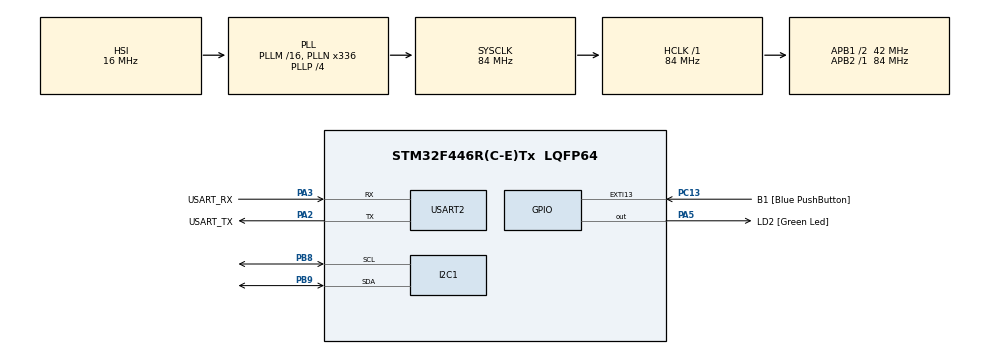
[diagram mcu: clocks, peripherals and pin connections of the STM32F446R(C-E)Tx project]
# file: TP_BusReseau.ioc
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Mcu.Family=STM32F4
Mcu.Name=STM32F446R(C-E)Tx
Mcu.Package=LQFP64
NVIC.I2C1_ER_IRQn=true\:0\:0\:false\:false\:true\:true\:true\:true
NVIC.I2C1_EV_IRQn=true\:0\:0\:false\:false\:true\:true\:true\:true
NVIC.PriorityGroup=NVIC_PRIORITYGROUP_0
NVIC.USART2_IRQn=true\:0\:0\:false\:false\:true\:true\:true\:true
PA13.GPIO_Label=TMS
PA13.Mode=Serial_Wire
PA13.Signal=SYS_JTMS-SWDIO
PA14.GPIO_Label=TCK
PA14.Mode=Serial_Wire
PA14.Signal=SYS_JTCK-SWCLK
PA2.GPIO_Label=USART_TX
PA2.Mode=Asynchronous
PA2.Signal=USART2_TX
PA3.GPIO_Label=USART_RX
PA3.Mode=Asynchronous
PA3.Signal=USART2_RX
PA5.GPIO_Label=LD2 [Green Led]
PA5.Signal=GPIO_Output
PB3.GPIO_Label=SWO
PB3.Signal=SYS_JTDO-SWO
PB8.Mode=I2C
PB8.Signal=I2C1_SCL
PB9.Mode=I2C
PB9.Signal=I2C1_SDA
PC13.GPIO_Label=B1 [Blue PushButton]
PC13.GPIO_ModeDefaultEXTI=GPIO_MODE_IT_FALLING
PC13.Signal=GPXTI13
PC14-OSC32_IN.Mode=LSE-External-Oscillator
PC14-OSC32_IN.Signal=RCC_OSC32_IN
PC15-OSC32_OUT.Mode=LSE-External-Oscillator
PC15-OSC32_OUT.Signal=RCC_OSC32_OUT
PH0-OSC_IN.Mode=HSE-External-Oscillator
PH0-OSC_IN.Signal=RCC_OSC_IN
PH1-OSC_OUT.Mode=HSE-External-Oscillator
PH1-OSC_OUT.Signal=RCC_OSC_OUT
ProjectManager.HeapSize=0x200
ProjectManager.StackSize=0x400
ProjectManager.TargetToolchain=STM32CubeIDE
RCC.48MHZClocksFreq_Value=84000000
RCC.AHBFreq_Value=84000000
RCC.APB1CLKDivider=RCC_HCLK_DIV2
RCC.APB1Freq_Value=42000000
RCC.APB1TimFreq_Value=84000000
RCC.APB2Freq_Value=84000000
RCC.APB2TimFreq_Value=84000000
RCC.CortexFreq_Value=84000000
RCC.FLatency-AdvancedSettings=FLASH_LATENCY_2
RCC.HCLKFreq_Value=84000000
RCC.HSE_VALUE=8000000
RCC.HSI_VALUE=16000000
RCC.PLLN=336
RCC.PLLP=RCC_PLLP_DIV4
RCC.SYSCLKFreq_VALUE=84000000
RCC.SYSCLKSource=RCC_SYSCLKSOURCE_PLLCLK
RCC.USBFreq_Value=168000000
RCC.VCOOutputFreq_Value=336000000
USART2.VirtualMode=VM_ASYNC
board=NUCLEO-F446RE

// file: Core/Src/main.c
/* USER CODE BEGIN Header */
/**
 ******************************************************************************
 * @file           : main.c
 * @brief          : Main program body
 ******************************************************************************
 * @attention
 *
 * Copyright (c) 2025 STMicroelectronics.
 * All rights reserved.
 *
 * This software is licensed under terms that can be found in the LICENSE file
 * in the root directory of this software component.
 * If no LICENSE file comes with this software, it is provided AS-IS.
 *
 ******************************************************************************
 */
/* USER CODE END Header */
#include "main.h"
#include "i2c.h"
#include "usart.h"
#include "gpio.h"

/* USER CODE BEGIN PD */
#define BMP280_I2C_ADDR (0x77 << 1) 	// SDO = VDDIO & I2C sur 7 bits et non 8
#define REG_ID 0xD0
#define REG_ID_VAL 0x58
#define NORMAL_MODE 0b11
#define REG_RESET 0xE0
#define REG_CALIB 0x88
#define CALIB_LENGTH 26
#define REG_PRESS_MSB 0xF7
#define REG_TEMP_MSB  0xFA
#define REG_CTRL_MEAS 0xF4
/* USER CODE END PD */

/* USER CODE BEGIN PV */
extern I2C_HandleTypeDef hi2c1;
extern UART_HandleTypeDef huart2;
/* USER CODE END PV */

void SystemClock_Config(void);

/* USER CODE BEGIN 0 */
int __io_putchar(int chr){
	HAL_UART_Transmit(&huart2, (uint8_t*) &chr, 1, HAL_MAX_DELAY);
	return chr;
}
/* USER CODE END 0 */

int main(void)
{

	/* MCU Configuration--------------------------------------------------------*/

	/* Reset of all peripherals, Initializes the Flash interface and the Systick. */
	HAL_Init();

	/* Configure the system clock */
	SystemClock_Config();

	/* Initialize all configured peripherals */
	MX_GPIO_Init();
	MX_USART2_UART_Init();
	MX_I2C1_Init();
	/* USER CODE BEGIN 2 */
	printf("\n=== Initialisation du BMP280... ===\r\n");

	/* Variables */
	uint8_t id_reg = REG_ID;
	uint8_t id;
	uint8_t buf[2];
	uint8_t calib[CALIB_LENGTH];
	uint8_t data[6];

	/* Étalonnage */
	uint16_t dig_T1;
	int16_t dig_T2, dig_T3;
	uint16_t dig_P1;
	int16_t dig_P2, dig_P3, dig_P4, dig_P5, dig_P6, dig_P7, dig_P8, dig_P9;
	int32_t t_fine;

	/* 1 - Présence du capteur */
	HAL_I2C_Master_Transmit(&hi2c1, BMP280_I2C_ADDR, &id_reg, 1, HAL_MAX_DELAY);
	HAL_I2C_Master_Receive(&hi2c1, BMP280_I2C_ADDR, &id, 1, HAL_MAX_DELAY);

	if (id == 0x58)
		printf("BMP280 détecté (ID = 0x%02X)\r\n", id);
	else
		printf("Erreur : BMP280 non détecté (ID lu = 0x%02X)\r\n", id);

	/* 2 - Configuration du capteur */
	buf[0] = REG_CTRL_MEAS;
	buf[1] = 0x57;
	HAL_I2C_Master_Transmit(&hi2c1, BMP280_I2C_ADDR, buf, 2, HAL_MAX_DELAY);
	HAL_Delay(100);

	/* 3 - Coefficients d'étalonage */
	uint8_t reg_calib = REG_CALIB;
	HAL_I2C_Master_Transmit(&hi2c1, BMP280_I2C_ADDR, &reg_calib, 1, HAL_MAX_DELAY);
	HAL_I2C_Master_Receive(&hi2c1, BMP280_I2C_ADDR, calib, CALIB_LENGTH, HAL_MAX_DELAY);

	/* Cf Datasheet */
	dig_T1 = (uint16_t)(calib[1] << 8 | calib[0]);
	dig_T2 = (int16_t)(calib[3] << 8 | calib[2]);
	dig_T3 = (int16_t)(calib[5] << 8 | calib[4]);
	dig_P1 = (uint16_t)(calib[7] << 8 | calib[6]);
	dig_P2 = (int16_t)(calib[9] << 8 | calib[8]);
	dig_P3 = (int16_t)(calib[11] << 8 | calib[10]);
	dig_P4 = (int16_t)(calib[13] << 8 | calib[12]);
	dig_P5 = (int16_t)(calib[15] << 8 | calib[14]);
	dig_P6 = (int16_t)(calib[17] << 8 | calib[16]);
	dig_P7 = (int16_t)(calib[19] << 8 | calib[18]);
	dig_P8 = (int16_t)(calib[21] << 8 | calib[20]);
	dig_P9 = (int16_t)(calib[23] << 8 | calib[22]);

	printf("\n== Coefficients d’étalonnage lus ==\r\n");

	printf("dig_T1 = %u\r\n", dig_T1);
	printf("dig_T2 = %d\r\n", dig_T2);
	printf("dig_T3 = %d\r\n", dig_T3);

	printf("dig_P1 = %u\r\n", dig_P1);
	printf("dig_P2 = %d\r\n", dig_P2);
	printf("dig_P3 = %d\r\n", dig_P3);
	printf("dig_P4 = %d\r\n", dig_P4);
	printf("dig_P5 = %d\r\n", dig_P5);
	printf("dig_P6 = %d\r\n", dig_P6);
	printf("dig_P7 = %d\r\n", dig_P7);
	printf("dig_P8 = %d\r\n", dig_P8);
	printf("dig_P9 = %d\r\n", dig_P9);

	/* USER CODE END 2 */

	/* Infinite loop */
	while (1)
	{

		/* USER CODE BEGIN 3 */

		/* 4 -  Lecture des datas */
		printf("\n=== Lecture des données === \r\n");
		uint8_t reg_data = REG_PRESS_MSB;

		HAL_I2C_Master_Transmit(&hi2c1, BMP280_I2C_ADDR, &reg_data, 1, HAL_MAX_DELAY);
		HAL_I2C_Master_Receive(&hi2c1, BMP280_I2C_ADDR, data, 6, HAL_MAX_DELAY);

		uint32_t adc_P = ((uint32_t)data[0] << 12) | ((uint32_t)data[1] << 4) | (data[2] >> 4);
		uint32_t adc_T = ((uint32_t)data[3] << 12) | ((uint32_t)data[4] << 4) | (data[5] >> 4);

		/* 5 - Température compensée */
		int32_t var1, var2, T;

		var1 = ((((adc_T >> 3) - ((int32_t)dig_T1 << 1))) * ((int32_t)dig_T2)) >> 11;
		var2 = (((((adc_T >> 4) - ((int32_t)dig_T1)) * ((adc_T >> 4) - ((int32_t)dig_T1))) >> 12) * ((int32_t)dig_T3)) >> 14;
		t_fine = var1 + var2;

		T = (t_fine * 5 + 128) >> 8;

		int64_t var1_p, var2_p, p;

		var1_p = ((int64_t)t_fine) - 128000;
		var2_p = var1_p * var1_p * (int64_t)dig_P6;
		var2_p = var2_p + ((var1_p * (int64_t)dig_P5) << 17);
		var2_p = var2_p + (((int64_t)dig_P4) << 35);
		var1_p = ((var1_p * var1_p * (int64_t)dig_P3) >> 8) + ((var1_p * (int64_t)dig_P2) << 12);
		var1_p = (((((int64_t)1) << 47) + var1_p) * ((int64_t)dig_P1)) >> 33;

		if (var1_p == 0) continue;
		p = 1048576 - adc_P;
		p = (((p << 31) - var2_p) * 3125) / var1_p;
		var1_p = (((int64_t)dig_P9) * (p >> 13) * (p >> 13)) >> 25;
		var2_p = (((int64_t)dig_P8) * p) >> 19;
		p = ((p + var1_p + var2_p) >> 8) + (((int64_t)dig_P7) << 4);

		/* --- 6 : Conversion et affichage en virgule fixe --- */
		int32_t temperature_centi = T;               // Température en centi-degrés
		int32_t pression_centi_hPa = (int32_t)(p / 256); // Pression en centi-hPa

		printf("Temp = %ld.%02ld °C | Pression = %ld.%02ld hPa\r\n",
				temperature_centi / 100, abs(temperature_centi % 100),
				pression_centi_hPa / 100, abs(pression_centi_hPa % 100));
	}
	HAL_Delay(500);
	/* USER CODE END 3 */
}

void SystemClock_Config(void)
{
	RCC_OscInitTypeDef RCC_OscInitStruct = {0};
	RCC_ClkInitTypeDef RCC_ClkInitStruct = {0};

	/** Configure the main internal regulator output voltage
	 */
	__HAL_RCC_PWR_CLK_ENABLE();
	__HAL_PWR_VOLTAGESCALING_CONFIG(PWR_REGULATOR_VOLTAGE_SCALE3);

	/** Initializes the RCC Oscillators according to the specified parameters
	 * in the RCC_OscInitTypeDef structure.
	 */
	RCC_OscInitStruct.OscillatorType = RCC_OSCILLATORTYPE_HSI;
	RCC_OscInitStruct.HSIState = RCC_HSI_ON;
	RCC_OscInitStruct.HSICalibrationValue = RCC_HSICALIBRATION_DEFAULT;
	RCC_OscInitStruct.PLL.PLLState = RCC_PLL_ON;
	RCC_OscInitStruct.PLL.PLLSource = RCC_PLLSOURCE_HSI;
	RCC_OscInitStruct.PLL.PLLM = 16;
	RCC_OscInitStruct.PLL.PLLN = 336;
	RCC_OscInitStruct.PLL.PLLP = RCC_PLLP_DIV4;
	RCC_OscInitStruct.PLL.PLLQ = 2;
	RCC_OscInitStruct.PLL.PLLR = 2;
	if (HAL_RCC_OscConfig(&RCC_OscInitStruct) != HAL_OK)
	{
		Error_Handler();
	}

	/** Initializes the CPU, AHB and APB buses clocks
	 */
	RCC_ClkInitStruct.ClockType = RCC_CLOCKTYPE_HCLK|RCC_CLOCKTYPE_SYSCLK
			|RCC_CLOCKTYPE_PCLK1|RCC_CLOCKTYPE_PCLK2;
	RCC_ClkInitStruct.SYSCLKSource = RCC_SYSCLKSOURCE_PLLCLK;
	RCC_ClkInitStruct.AHBCLKDivider = RCC_SYSCLK_DIV1;
	RCC_ClkInitStruct.APB1CLKDivider = RCC_HCLK_DIV2;
	RCC_ClkInitStruct.APB2CLKDivider = RCC_HCLK_DIV1;

	if (HAL_RCC_ClockConfig(&RCC_ClkInitStruct, FLASH_LATENCY_2) != HAL_OK)
	{
		Error_Handler();
	}
}

void Error_Handler(void)
{
	__disable_irq();
	while (1)
	{
	}
}
